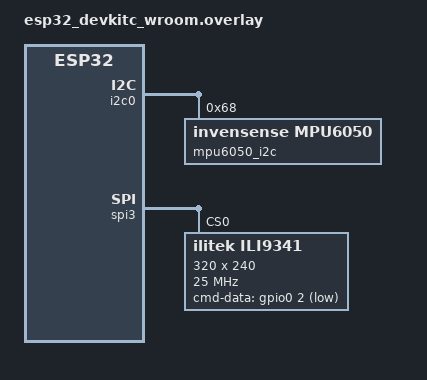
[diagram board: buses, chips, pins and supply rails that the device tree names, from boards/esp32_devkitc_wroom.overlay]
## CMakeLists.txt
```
# SPDX-License-Identifier: Apache-2.0

cmake_minimum_required(VERSION 3.28.3)

find_package(Zephyr REQUIRED HINTS $ENV{ZEPHYR_BASE})
project(lvgl)

FILE(GLOB app_sources src/*.c)
target_sources(app PRIVATE ${app_sources})
```

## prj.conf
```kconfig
CONFIG_LV_Z_MEM_POOL_SIZE=16384
CONFIG_LV_Z_SHELL=y
CONFIG_MAIN_STACK_SIZE=4096

CONFIG_DISPLAY=y
CONFIG_DISPLAY_LOG_LEVEL_ERR=y

CONFIG_LOG=y
CONFIG_SHELL=y

CONFIG_LVGL=y
CONFIG_LV_USE_LOG=y
CONFIG_LV_USE_LABEL=y
CONFIG_LV_USE_ARC=y
CONFIG_LV_USE_MONKEY=y
CONFIG_LV_FONT_MONTSERRAT_14=y

CONFIG_INPUT=y
```

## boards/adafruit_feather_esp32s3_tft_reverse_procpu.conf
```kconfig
CONFIG_POWER_DOMAIN=y
CONFIG_GPIO=y
CONFIG_PM_DEVICE=y
CONFIG_PM_DEVICE_POWER_DOMAIN=y
```

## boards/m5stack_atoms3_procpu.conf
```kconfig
CONFIG_LOG=y
CONFIG_LED_STRIP=y
CONFIG_LED_STRIP_LOG_LEVEL_DBG=y
CONFIG_WS2812_STRIP_SPI=y
CONFIG_SPI=y
```

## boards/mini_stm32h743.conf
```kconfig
# Copyright (c) Charles Dias <charlesdias.cd@outlook.com>
# SPDX-License-Identifier: Apache-2.0

# Enable SPI driver for ST7735R
```

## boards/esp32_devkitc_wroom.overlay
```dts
/ {
	aliases {
		accel0 = &mpu6050_i2c;
	};

        chosen {
                zephyr,display = &ili9341;
        };
};

&i2c0 {
	mpu6050_i2c: mpu6050@68 {
		compatible = "invensense,mpu6050";
		reg = <0x68>;
	};
};


&spi3 {
        status = "okay";
	ili9341: ili9341@0 {
		compatible = "ilitek,ili9341";
		spi-max-frequency = <25000000>;
		reg = <0>;
		cmd-data-gpios = <&gpio0 2 GPIO_ACTIVE_LOW>;
		pixel-format = <0>;
		rotation = <270>;
		width = <320>;
		height = <240>;
	};
};
```

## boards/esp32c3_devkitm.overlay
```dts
/ {
	aliases {
		accel0 = &mpu6050_i2c;
	};

        chosen {
                zephyr,display = &ili9340;
        };
};

&i2c0 {
	mpu6050_i2c: mpu6050@68 {
		compatible = "invensense,mpu6050";
		reg = <0x68>;
	};
};


&spi3 {
        status = "okay";
	ili9341: ili9341@0 {
		compatible = "ilitek,ili9341";
		spi-max-frequency = <25000000>;
		reg = <0>;
		cmd-data-gpios = <&gpio0 2 GPIO_ACTIVE_LOW>;
		pixel-format = <0>;
		rotation = <270>;
		width = <320>;
		height = <240>;
	};
};
```

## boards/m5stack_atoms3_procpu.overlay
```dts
/*
 * Copyright (c) 2022 Espressif Systems (Shanghai) Co., Ltd.
 *
 * SPDX-License-Identifier: Apache-2.0
 */

#include <zephyr/dt-bindings/led/led.h>
#include <zephyr/dt-bindings/led/worldsemi_ws2812c.h>


/ {
        aliases {
                led-strip = &led_strip;
        };

        chosen {
                zephyr,display = &led_strip_matrix;
        };

        led_strip_matrix: led_strip_matrix {
                compatible = "led-strip-matrix";
                status = "okay";

                led-strips = <&led_strip>;
                chain-lengths = <256>;
                width = <16>;
                height = <16>;
                // horizontal-modules = <1>;
                // vertical-modules = <1>;
                //circulative;
                start-from-right;
        };

};

&pinctrl {
        spim3_default: spim3_default {
                group2 {
                        pinmux = <SPIM3_MOSI_GPIO1>;
                };
        };
};

&i2c1 {
        status = "disabled";
};

&spi3 {
        #address-cells = <1>;
        #size-cells = <0>;
        status = "okay";
        pinctrl-0 = <&spim3_default>;
        pinctrl-names = "default";

        /* Workaround to support WS2812 driver */
        line-idle-low;

        led_strip: ws2812@0 {
                compatible = "worldsemi,ws2812-spi";

                /* SPI */
                reg = <0>; /* ignored, but necessary for SPI bindings */
                spi-max-frequency = <WS2812C_SPI_FREQ>;

                /* WS2812 */
                chain-length = <256>; /* arbitrary; change at will */
                spi-cpha;
                spi-one-frame = <WS2812C_ONE_FRAME>;
                spi-zero-frame = <WS2812C_ZERO_FRAME>;
                color-mapping = <LED_COLOR_ID_GREEN
                                 LED_COLOR_ID_RED
                                 LED_COLOR_ID_BLUE>;
        };
};
```

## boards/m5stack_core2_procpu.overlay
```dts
/*
 * Copyright (c) 2022 Espressif Systems (Shanghai) Co., Ltd.
 *
 * SPDX-License-Identifier: Apache-2.0
 */

#include <zephyr/dt-bindings/led/led.h>


/ {
        aliases {
                led-strip = &led_strip;
        };

        chosen {
                zephyr,display = &led_strip_matrix;
        };

        led_strip_matrix: led_strip_matrix {
                compatible = "led-strip-matrix";
                status = "okay";

                led-strips = <&led_strip>;
                chain-lengths = <256>;
                width = <16>;
                height = <16>;
                // horizontal-modules = <1>;
                // vertical-modules = <1>;
                // circulative;
                start-from-right;
        };

};

&bus_5v {
        regulator-boot-on;
};

&pinctrl {
        spim3_default: spim3_default {
                group2 {
                        pinmux = <SPIM3_MOSI_GPIO32>;
                };
        };
};

&i2c1 {
        status = "disabled";
};

&spi3 {
        #address-cells = <1>;
        #size-cells = <0>;
        status = "okay";
        pinctrl-0 = <&spim3_default>;
        pinctrl-names = "default";

        /* Workaround to support WS2812 driver */
        line-idle-low;

        led_strip: ws2812@0 {
                compatible = "worldsemi,ws2812-spi";

                /* SPI */
                reg = <0>; /* ignored, but necessary for SPI bindings */
                spi-max-frequency = <6400000>;

                /* WS2812 */
                chain-length = <256>; /* arbitrary; change at will */
                spi-cpha;
                spi-one-frame = <0xf0>; /* 11110000: 625 ns high and 625 ns low */
                spi-zero-frame = <0xc0>; /* 11000000: 312.5 ns high and 937.5 ns low */
                color-mapping = <LED_COLOR_ID_GREEN
                LED_COLOR_ID_RED
                LED_COLOR_ID_BLUE>;
        };
};
```

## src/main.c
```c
/*
 * Copyright (c) 2018 Jan Van Winkel <jan.van_winkel@dxplore.eu>
 *
 * SPDX-License-Identifier: Apache-2.0
 *
 * Example: Musical Instrument UI using rotary encoder and LVGL.
 * This sample cycles through instrument functions on encoder click and adjusts
 * parameter values on left/right turns.
 */

#include <zephyr/kernel.h>
#include <zephyr/device.h>
#include <zephyr/devicetree.h>
#include <zephyr/drivers/display.h>
#include <lvgl.h>
#include <stdio.h>
#include <string.h>
#include <zephyr/logging/log.h>
LOG_MODULE_REGISTER(app);

/* Define instrument functions */
enum instrument_mode {
	MODE_WAVEFORM,
	MODE_VOLUME,
	MODE_FILTER,
	MODE_MIDI_CHANNEL,
	MODE_OCTAVE,
	MODE_COUNT
};

static const char *mode_names[MODE_COUNT] = {
	"Waveform", // Could be encoded as 0=sine, 1=square, etc.
	"Volume",   // 0-100%
	"Filter",   // Cutoff frequency in Hz
	"MIDI Ch.", // MIDI channel 1-16
	"Octave"    // Offset value, e.g. -2..+2
};

/* Initial parameter values */
static int mode_values[MODE_COUNT] = {
	0,    /* Waveform (0: sine, 1: square, etc.) */
	50,   /* Volume */
	1000, /* Filter cutoff */
	1,    /* MIDI channel */
	4     /* Octave (this value is arbitrary, adjust as needed) */
};

static uint8_t current_mode = 0;
static lv_obj_t *ui_label;

/* Update the label text to show current function and value */
static void update_ui(void)
{
	char buf[64];
	snprintf(buf, sizeof(buf), "%s: %d", mode_names[current_mode], mode_values[current_mode]);
	lv_label_set_text(ui_label, buf);
}

/* Event callback for our instrument UI label */
static void instrument_event_cb(lv_event_t *e)
{
	printk("Instrument event callback\n");
	lv_event_code_t code = lv_event_get_code(e);

	/* We assume the rotary encoder sends key events:
	 * LV_KEY_ENTER for a click,
	 * LV_KEY_RIGHT/LEFT for turning.
	 */
	if (code == LV_EVENT_KEY) {
		printk("Key event\n");
		uint32_t key = *((uint32_t *)lv_event_get_param(e));
		printk("Key: %d ENTER=%d RIGHT=%d LEFT=%d\n", key, LV_KEY_ENTER, LV_KEY_RIGHT,
		       LV_KEY_LEFT);

		if (key == LV_KEY_ENTER) {
			/* Cycle to the next function */
			current_mode = (current_mode + 1) % MODE_COUNT;
			update_ui();
		} else if (key == LV_KEY_RIGHT) {
			/* Increase current parameter value */
			mode_values[current_mode]++;
			update_ui();
		} else if (key == LV_KEY_LEFT) {
			/* Decrease current parameter value */
			mode_values[current_mode]--;
			update_ui();
		}
	}
}

int main(void)
{
	const struct device *display_dev;

	/* Get and check the display device */
	display_dev = DEVICE_DT_GET(DT_CHOSEN(zephyr_display));
	if (!device_is_ready(display_dev)) {
		LOG_ERR("Display device not ready");
		return 0;
	}

	/* Initialize LVGL (assumes LVGL is already configured) */
	lv_init();

	/* If using an LVGL buffer and driver, initialize those here */
	/* ... (display and input device driver initialization) ... */

	/* Create a simple label for our instrument UI */
	ui_label = lv_label_create(lv_scr_act());
	lv_obj_align(ui_label, LV_ALIGN_CENTER, 0, 0);
	update_ui();

	/* Register the event callback to listen for key events on ui_label */
	lv_obj_add_event_cb(ui_label, instrument_event_cb, LV_EVENT_KEY, NULL);

	/* Set up an input group so that the rotary encoder events are directed to ui_label.
	 * (Assumes your lvgl_input_device integration maps the rotary encoder to LVGL keys)
	 */
#ifdef CONFIG_LV_Z_ENCODER_INPUT
	{
		printk("Setting up input group\n");
		lv_group_t *group = lv_group_create();
		lv_group_add_obj(group, ui_label);
		/* Get the LVGL input device for the encoder */
		const struct device *lvgl_encoder =
			DEVICE_DT_GET(DT_COMPAT_GET_ANY_STATUS_OKAY(zephyr_lvgl_encoder_input));
		if (lvgl_encoder != NULL) {
			lv_indev_set_group(lvgl_input_get_indev(lvgl_encoder), group);
		} else {
			LOG_ERR("Encoder input device not found");
		}
	}
#endif

	/* Turn off display blanking */
	display_blanking_off(display_dev);

	/* Main loop */
	while (1) {
		lv_timer_handler();
		k_sleep(K_MSEC(10));
	}

	return 0;
}
```
